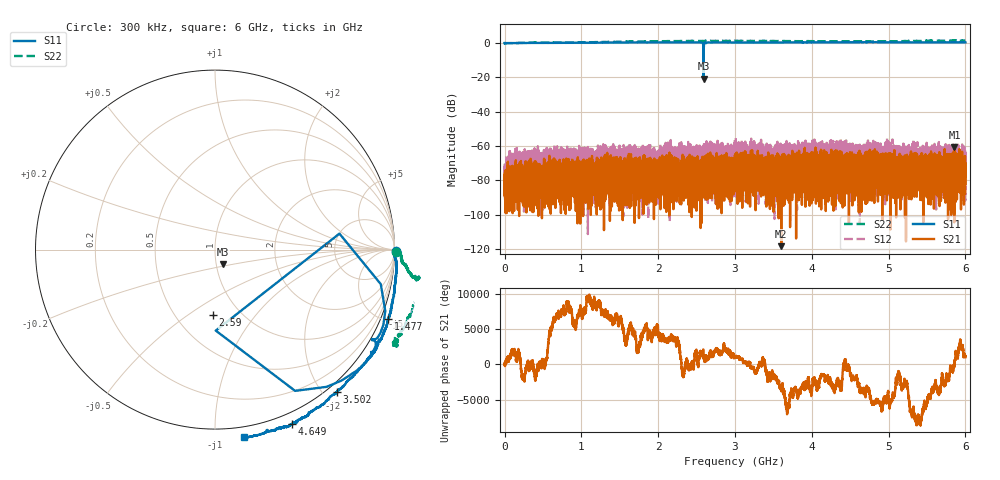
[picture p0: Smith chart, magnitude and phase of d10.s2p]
!Agilent Technologies,N5230C,SG49000117,A.08.50.07
!Agilent N5230C: A.08.50.07
!Date: Thursday, May 16, 2024 17:46:01
!Correction: S11(Full 2 Port(1,2))
!S21(Full 2 Port(1,2))
!S12(Full 2 Port(1,2))
!S22(Full 2 Port(1,2))
!S2P File: Measurements: S11, S21, S12, S22:
# Hz S  MA  R 50
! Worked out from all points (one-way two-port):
!   20001 points, 300 kHz to 6 GHz, reference 50 ohm
!   highest |S21| = -60.74 dB at 5.858 GHz (marker M1); lowest = -118.5 dB at 3.603 GHz (marker M2)
!   lowest |S11| = -20.7 dB at 2.591 GHz (marker M3), VSWR 1.20, Z = 54 - j8.75 ohm
!   |S11| at or under -10 dB: 2.590218 GHz to 2.591955 GHz (1.737 MHz wide, 0.0671 % of centre)
!   |S22| runs from -0.3 to 1.6 dB; largest |S21 - S12| = 0.0017
!   S11 on the Smith chart (normalised r, x): 300 kHz: open; 1.477 GHz: -0.55, -5.14; 2.59 GHz: 0.75, -0.63; 3.502 GHz: -0.12, -2.17; 4.649 GHz: -0.10, -1.53; 6 GHz: -0.07, -1.16
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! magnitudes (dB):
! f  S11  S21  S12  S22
! 300 kHz  0.1  -76.0  -70.4  0.1
! 1 GHz  0.2  -87.8  -65.3  0.5
! 1.477 GHz  0.3  -83.5  -69.4  0.8
! 2 GHz  0.4  -80.5  -70.0  1.1
! 2.148 GHz  0.4  -71.1  -61.7  1.1
! 2.298 GHz  0.5  -78.9  -69.9  1.2
! 2.59 GHz  -8.7  -69.1  -75.6  1.3
! 2.591 GHz  -20.7  -72.9  -67.8  1.3
! 3 GHz  0.4  -70.2  -66.7  1.3
! 3.502 GHz  0.4  -77.6  -64.8  1.2
! 3.603 GHz  0.4  -118.5  -66.4  1.2
! 4 GHz  0.4  -78.8  -72.7  1.2
! 4.148 GHz  0.5  -65.3  -74.2  1.1
! 4.649 GHz  0.5  -78.7  -68.4  1.1
! 4.828 GHz  0.6  -67.1  -68.4  1.0
! 4.931 GHz  0.5  -75.6  -62.4  1.1
! 5 GHz  0.5  -71.1  -67.4  1.1
! 5.229 GHz  0.5  -73.1  -76.1  1.2
! 5.336 GHz  0.5  -77.5  -73.4  1.2
! 5.858 GHz  0.5  -60.7  -66.4  1.5
! 5.966 GHz  0.5  -71.6  -65.4  1.5
! 6 GHz  0.5  -72.9  -65.1  1.5
